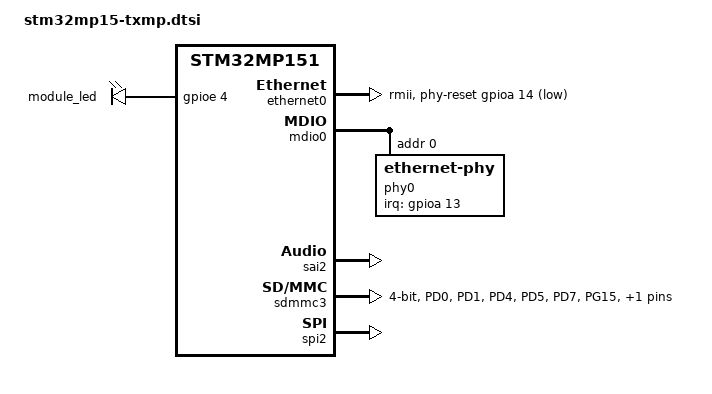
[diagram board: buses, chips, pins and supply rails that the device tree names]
// SPDX-License-Identifier: (GPL-2.0+ OR BSD-3-Clause)
/*
 * Copyright (C) Lothar Waßmann <LW@KARO-electronics.de>
 */

#include "stm32mp151.dtsi"
#include "stm32mp15-pinctrl.dtsi"
#include "stm32mp15xxab-pinctrl.dtsi"
#include "stm32mp15-karo.dtsi"

&adc {
	status = "disabled";
};

&adc2 {
	status = "disabled";
};

&ethernet0 {
	pinctrl-0 = <&ethernet0_rmii_pins>;
	pinctrl-1 = <&ethernet0_rmii_pins_sleep>;
	phy-mode = "rmii";
	max-speed = <100>;
	phy-reset-gpios = <&gpioa 14 GPIO_ACTIVE_LOW>;
	st,eth-ref-clk-sel;
};

&lcd_backlight {
	gpios = <&gpioa 10 GPIO_ACTIVE_LOW>;
};

&lcd_panel {
	pinctrl-0 = <&txmp_ltdc_pins>;
	pinctrl-1 = <&txmp_ltdc_pins_sleep>;
	enable-gpios = <&gpiod 15 GPIO_ACTIVE_HIGH>;
	reset-gpios = <&gpioe 1 GPIO_ACTIVE_HIGH>;
};

&mdio0 {
	phy0: ethernet-phy@0 {
		reg = <0>;
		interrupt-parent = <&gpioa>;
		interrupts = <13 IRQ_TYPE_EDGE_FALLING>;
		smsc,disable-energy-detect;
	};
};

&module_led {
	pinctrl-0 = <&txmp_led_pins>;
	pinctrl-1 = <&txmp_led_sleep_pins>;
	gpios = <&gpioe 4 GPIO_ACTIVE_HIGH>;
};

&sai2 {
	status = "okay";

	sai2a: audio-controller@4400b004 {
		pinctrl-names = "default", "sleep";
		pinctrl-0 = <&sai2a_pins>;
		pinctrl-1 = <&sai2a_sleep_pins>;
		status = "okay";
	};
};

&sdmmc3 {
	/* SD card slot */
	pinctrl-names = "default", "opendrain", "sleep";
	pinctrl-0 = <&sdmmc3_pins>;
	pinctrl-1 = <&sdmmc3_opendrain_pins>;
	pinctrl-2 = <&sdmmc3_sleep_pins>;
	cd-gpios = <&gpioc 11 GPIO_ACTIVE_LOW>;
	bus-width = <4>;
	no-1-8-v;
	st,neg-edge;
	status = "okay";
};

&spi2 {
	pinctrl-names = "default", "sleep";
	pinctrl-0 = <&spi2_pins>;
	pinctrl-1 = <&spi2_sleep_pins>;
	status = "okay";
};

&vrefbuf {
	status = "disabled";
};

&pinctrl {
	sdmmc3_pins: sdmmc3-pins {
		pins1 {
			pinmux = <
				  STM32_PINMUX('D', 0, AF10)	/* SDMMC3_CMD */
				  STM32_PINMUX('D', 1, AF10)	/* SDMMC3_D0 */
				  STM32_PINMUX('D', 4, AF10)	/* SDMMC3_D1 */
				  STM32_PINMUX('D', 5, AF10)	/* SDMMC3_D2 */
				  STM32_PINMUX('D', 7, AF10)	/* SDMMC3_D3 */
			>;
			bias-disable;
			drive-push-pull;
			slew-rate = <0>;
		};

		pins2 {
			pinmux = <STM32_PINMUX('G', 15, AF10)>; /* SDMMC3_CK */
			bias-disable;
			drive-push-pull;
			slew-rate = <0>;
		};
	};

	sdmmc3_opendrain_pins: sdmmc3_opendrain-mx {
		pins1 {
			pinmux = <
				  STM32_PINMUX('D', 1, AF10) /* SDMMC3_D0 */
				  STM32_PINMUX('D', 4, AF10) /* SDMMC3_D1 */
				  STM32_PINMUX('D', 5, AF10) /* SDMMC3_D2 */
				  STM32_PINMUX('D', 7, AF10) /* SDMMC3_D3 */
			>;
			bias-disable;
			drive-push-pull;
			slew-rate = <0>;
		};

		pins2 {
			pinmux = <STM32_PINMUX('G', 15, AF10)>; /* SDMMC3_CK */
			bias-disable;
			drive-push-pull;
			slew-rate = <0>;
		};

		pins3 {
			pinmux = <STM32_PINMUX('D', 0, AF10)>; /* SDMMC3_CMD */
			bias-pull-up;
			drive-open-drain;
			slew-rate = <0>;
		};
	};

	sdmmc3_sleep_pins: sdmmc3-sleep-mx {
		pins {
			pinmux = <
				  STM32_PINMUX('D', 0, ANALOG) /* SDMMC3_CMD */
				  STM32_PINMUX('D', 1, ANALOG) /* SDMMC3_D0 */
				  STM32_PINMUX('D', 4, ANALOG) /* SDMMC3_D1 */
				  STM32_PINMUX('D', 5, ANALOG) /* SDMMC3_D2 */
				  STM32_PINMUX('D', 7, ANALOG) /* SDMMC3_D3 */
				  STM32_PINMUX('G', 15, ANALOG) /* SDMMC3_CK */
			>;
		};
	};

};
